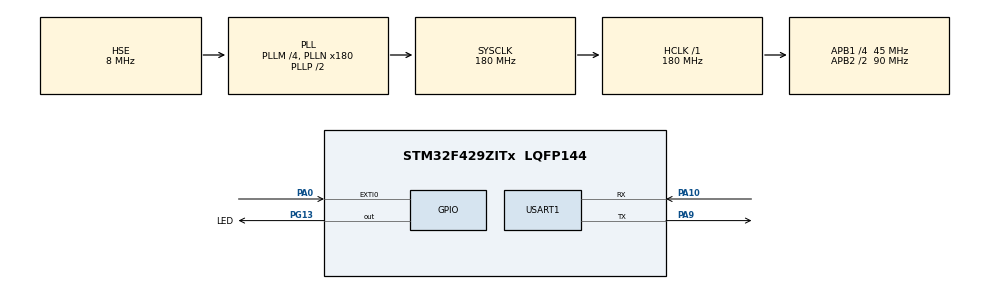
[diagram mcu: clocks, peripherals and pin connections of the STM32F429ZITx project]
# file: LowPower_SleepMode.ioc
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Mcu.Family=STM32F4
Mcu.Name=STM32F429ZITx
Mcu.Package=LQFP144
NVIC.EXTI0_IRQn=true\:0\:0\:false\:true\:true\:2\:true\:true\:true
NVIC.PriorityGroup=NVIC_PRIORITYGROUP_4
NVIC.USART1_IRQn=true\:0\:0\:false\:true\:true\:1\:true\:true\:true
PA0/WKUP.GPIO_ModeDefaultEXTI=GPIO_MODE_IT_RISING
PA0/WKUP.GPIO_PuPd=GPIO_NOPULL
PA0/WKUP.Signal=GPXTI0
PA10.Mode=Asynchronous
PA10.Signal=USART1_RX
PA13.Mode=Serial_Wire
PA13.Signal=SYS_JTMS-SWDIO
PA14.Mode=Serial_Wire
PA14.Signal=SYS_JTCK-SWCLK
PA9.Mode=Asynchronous
PA9.Signal=USART1_TX
PG13.GPIO_Label=LED
PG13.GPIO_PuPd=GPIO_PULLUP
PG13.GPIO_Speed=GPIO_SPEED_FREQ_HIGH
PG13.PinState=GPIO_PIN_SET
PG13.Signal=GPIO_Output
PH0/OSC_IN.Mode=HSE-External-Oscillator
PH0/OSC_IN.Signal=RCC_OSC_IN
PH1/OSC_OUT.Mode=HSE-External-Oscillator
PH1/OSC_OUT.Signal=RCC_OSC_OUT
ProjectManager.HeapSize=0x200
ProjectManager.StackSize=0x400
ProjectManager.TargetToolchain=STM32CubeIDE
RCC.48MHZClocksFreq_Value=90000000
RCC.AHBFreq_Value=180000000
RCC.APB1CLKDivider=RCC_HCLK_DIV4
RCC.APB1Freq_Value=45000000
RCC.APB1TimFreq_Value=90000000
RCC.APB2CLKDivider=RCC_HCLK_DIV2
RCC.APB2Freq_Value=90000000
RCC.APB2TimFreq_Value=180000000
RCC.CortexFreq_Value=180000000
RCC.HCLKFreq_Value=180000000
RCC.HSE_VALUE=8000000
RCC.HSI_VALUE=16000000
RCC.LSE_VALUE=32768
RCC.PLLM=4
RCC.PLLN=180
RCC.PLLSourceVirtual=RCC_PLLSOURCE_HSE
RCC.SYSCLKFreq_VALUE=180000000
RCC.SYSCLKSource=RCC_SYSCLKSOURCE_PLLCLK
RCC.VCOOutputFreq_Value=360000000
USART1.VirtualMode=VM_ASYNC
board=custom

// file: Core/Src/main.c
/* USER CODE BEGIN Header */
/**
 ******************************************************************************
 * @file           : main.c
 * @brief          : Main program body
 ******************************************************************************
 * @attention
 *
 * Copyright (c) 2023 STMicroelectronics.
 * All rights reserved.
 *
 * This software is licensed under terms that can be found in the LICENSE file
 * in the root directory of this software component.
 * If no LICENSE file comes with this software, it is provided AS-IS.
 *
 ******************************************************************************
 */
/* USER CODE END Header */
#include "main.h"
#include "stdio.h"
#include "string.h"

UART_HandleTypeDef huart1;

/* USER CODE BEGIN PV */
uint8_t Rx_data;
char* str;
/* USER CODE END PV */

void SystemClock_Config(void);
static void MX_GPIO_Init(void);
static void MX_USART1_UART_Init(void);
static void MX_NVIC_Init(void);

/* USER CODE BEGIN 0 */
void HAL_UART_RxCpltCallback(UART_HandleTypeDef *huart) {
	if(huart->Instance==USART1){
		HAL_UART_Receive_IT(huart, &Rx_data, 1);
	str = "WakeUP from SLEEP by UART\r\n";
	HAL_UART_Transmit(&huart1, (uint8_t*) str, strlen(str), HAL_MAX_DELAY);
	}
}

void HAL_GPIO_EXTI_Callback(uint16_t GPIO_Pin) {
	if(GPIO_Pin==GPIO_PIN_0){
	str = "WakeUP from SLEEP by EXTI\r\n";
	HAL_UART_Transmit(&huart1, (uint8_t*) str, strlen(str), HAL_MAX_DELAY);

	HAL_PWR_DisableSleepOnExit();
	}
}
/* USER CODE END 0 */

int main(void) {

	/* MCU Configuration--------------------------------------------------------*/

	/* Reset of all peripherals, Initializes the Flash interface and the Systick. */
	HAL_Init();

	/* Configure the system clock */
	SystemClock_Config();

	/* Initialize all configured peripherals */
	MX_GPIO_Init();
	MX_USART1_UART_Init();

	/* Initialize interrupts */
	MX_NVIC_Init();
	/* USER CODE BEGIN 2 */
	HAL_UART_Receive_IT(&huart1, &Rx_data, 1);
	/* USER CODE END 2 */

	/* Infinite loop */
	/* USER CODE BEGIN WHILE */
	while (1) {
		str = "Entering into SLEEP MODE in 10 seconds\r\n";
		HAL_UART_Transmit(&huart1, (uint8_t*) str, strlen(str), HAL_MAX_DELAY);
		HAL_GPIO_WritePin(LED_GPIO_Port, LED_Pin, SET);
		HAL_Delay(10000);

		HAL_SuspendTick();

		HAL_PWR_EnableSleepOnExit();

		HAL_GPIO_WritePin(LED_GPIO_Port, LED_Pin, RESET);

		HAL_PWR_EnterSLEEPMode(PWR_MAINREGULATOR_ON, PWR_SLEEPENTRY_WFI);
		/* USER CODE END WHILE */

		/* USER CODE BEGIN 3 */
		HAL_ResumeTick();

		str = "WakeUP from SLEEP\r\n";
		HAL_UART_Transmit(&huart1, (uint8_t*) str, strlen(str), HAL_MAX_DELAY);

		for (int i = 0; i < 20; i++) {
			HAL_GPIO_TogglePin(LED_GPIO_Port, LED_Pin);
			HAL_Delay(100);
		}
	}
	/* USER CODE END 3 */
}

void SystemClock_Config(void) {
	RCC_OscInitTypeDef RCC_OscInitStruct = { 0 };
	RCC_ClkInitTypeDef RCC_ClkInitStruct = { 0 };

	/** Configure the main internal regulator output voltage
	 */
	__HAL_RCC_PWR_CLK_ENABLE();
	__HAL_PWR_VOLTAGESCALING_CONFIG(PWR_REGULATOR_VOLTAGE_SCALE1);

	/** Initializes the RCC Oscillators according to the specified parameters
	 * in the RCC_OscInitTypeDef structure.
	 */
	RCC_OscInitStruct.OscillatorType = RCC_OSCILLATORTYPE_HSE;
	RCC_OscInitStruct.HSEState = RCC_HSE_ON;
	RCC_OscInitStruct.PLL.PLLState = RCC_PLL_ON;
	RCC_OscInitStruct.PLL.PLLSource = RCC_PLLSOURCE_HSE;
	RCC_OscInitStruct.PLL.PLLM = 4;
	RCC_OscInitStruct.PLL.PLLN = 180;
	RCC_OscInitStruct.PLL.PLLP = RCC_PLLP_DIV2;
	RCC_OscInitStruct.PLL.PLLQ = 4;
	if (HAL_RCC_OscConfig(&RCC_OscInitStruct) != HAL_OK) {
		Error_Handler();
	}

	/** Activate the Over-Drive mode
	 */
	if (HAL_PWREx_EnableOverDrive() != HAL_OK) {
		Error_Handler();
	}

	/** Initializes the CPU, AHB and APB buses clocks
	 */
	RCC_ClkInitStruct.ClockType = RCC_CLOCKTYPE_HCLK | RCC_CLOCKTYPE_SYSCLK
			| RCC_CLOCKTYPE_PCLK1 | RCC_CLOCKTYPE_PCLK2;
	RCC_ClkInitStruct.SYSCLKSource = RCC_SYSCLKSOURCE_PLLCLK;
	RCC_ClkInitStruct.AHBCLKDivider = RCC_SYSCLK_DIV1;
	RCC_ClkInitStruct.APB1CLKDivider = RCC_HCLK_DIV4;
	RCC_ClkInitStruct.APB2CLKDivider = RCC_HCLK_DIV2;

	if (HAL_RCC_ClockConfig(&RCC_ClkInitStruct, FLASH_LATENCY_5) != HAL_OK) {
		Error_Handler();
	}
}

/**
 * @brief NVIC Configuration.
 * @retval None
 */
static void MX_NVIC_Init(void) {
	/* USART1_IRQn interrupt configuration */
	HAL_NVIC_SetPriority(USART1_IRQn, 0, 0);
	HAL_NVIC_EnableIRQ(USART1_IRQn);
	/* EXTI0_IRQn interrupt configuration */
	HAL_NVIC_SetPriority(EXTI0_IRQn, 0, 0);
	HAL_NVIC_EnableIRQ(EXTI0_IRQn);
}

static void MX_USART1_UART_Init(void) {

	huart1.Instance = USART1;
	huart1.Init.BaudRate = 115200;
	huart1.Init.WordLength = UART_WORDLENGTH_8B;
	huart1.Init.StopBits = UART_STOPBITS_1;
	huart1.Init.Parity = UART_PARITY_NONE;
	huart1.Init.Mode = UART_MODE_TX_RX;
	huart1.Init.HwFlowCtl = UART_HWCONTROL_NONE;
	huart1.Init.OverSampling = UART_OVERSAMPLING_16;
	if (HAL_UART_Init(&huart1) != HAL_OK) {
		Error_Handler();
	}

}

static void MX_GPIO_Init(void) {
	GPIO_InitTypeDef GPIO_InitStruct = { 0 };

	/* GPIO Ports Clock Enable */
	__HAL_RCC_GPIOH_CLK_ENABLE();
	__HAL_RCC_GPIOA_CLK_ENABLE();
	__HAL_RCC_GPIOG_CLK_ENABLE();

	/*Configure GPIO pin Output Level */
	HAL_GPIO_WritePin(LED_GPIO_Port, LED_Pin, GPIO_PIN_SET);

	/*Configure GPIO pin : PA0 */
	GPIO_InitStruct.Pin = GPIO_PIN_0;
	GPIO_InitStruct.Mode = GPIO_MODE_IT_RISING;
	GPIO_InitStruct.Pull = GPIO_NOPULL;
	HAL_GPIO_Init(GPIOA, &GPIO_InitStruct);

	/*Configure GPIO pin : LED_Pin */
	GPIO_InitStruct.Pin = LED_Pin;
	GPIO_InitStruct.Mode = GPIO_MODE_OUTPUT_PP;
	GPIO_InitStruct.Pull = GPIO_PULLUP;
	GPIO_InitStruct.Speed = GPIO_SPEED_FREQ_HIGH;
	HAL_GPIO_Init(LED_GPIO_Port, &GPIO_InitStruct);

}

void Error_Handler(void) {
	__disable_irq();
	while (1) {
	}
}
